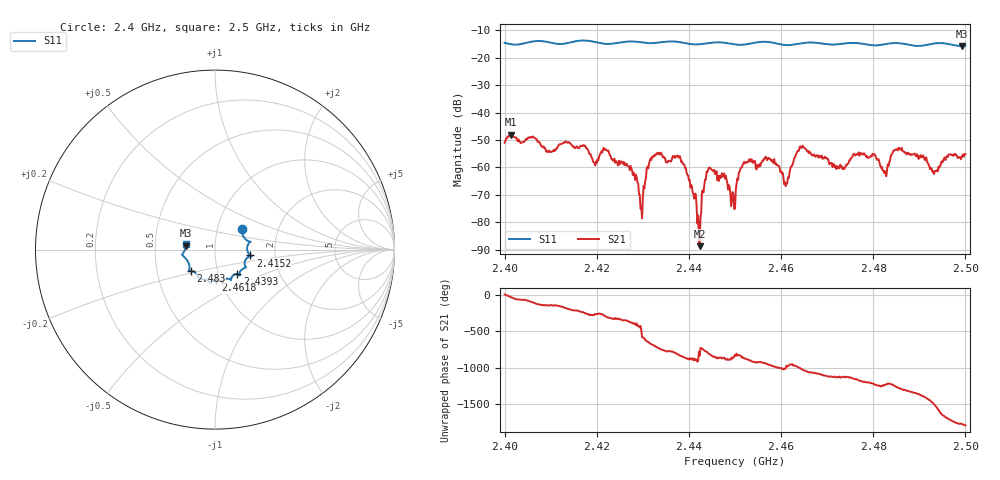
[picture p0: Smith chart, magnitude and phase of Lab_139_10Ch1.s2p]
# Hz S RI R 50
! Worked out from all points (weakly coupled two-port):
!   601 points, 2.4 GHz to 2.5 GHz, reference 50 ohm
!   highest |S21| = -48.01 dB at 2.4013 GHz (marker M1); lowest = -88.7 dB at 2.4423 GHz (marker M2)
!   lowest |S11| = -15.7 dB at 2.4993 GHz (marker M3), VSWR 1.39, Z = 36 + j1.59 ohm
!   |S11| at or under -10 dB: start of sweep to end of sweep
!   S12 and S22 are empty: the file has one direction only
!   S11 on the Smith chart (normalised r, x): 2.4 GHz: 1.31, +0.31; 2.4152 GHz: 1.48, -0.10; 2.4393 GHz: 1.23, -0.35; 2.4618 GHz: 0.95, -0.34; 2.483 GHz: 0.74, -0.18; 2.5 GHz: 0.72, +0.05
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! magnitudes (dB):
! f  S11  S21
! 2.4 GHz  -14.5  -51.0
! 2.4013 GHz  -15.0  -48.0
! 2.4152 GHz  -14.0  -52.7
! 2.4167 GHz  -13.7  -52.1
! 2.427 GHz  -14.0  -59.7
! 2.4297 GHz  -14.3  -74.5
! 2.4313 GHz  -14.6  -58.8
! 2.4333 GHz  -14.4  -55.0
! 2.4393 GHz  -14.7  -60.3
! 2.4423 GHz  -15.0  -88.7
! 2.4443 GHz  -14.6  -60.2
! 2.45 GHz  -15.1  -75.0
! 2.4532 GHz  -14.8  -57.0
! 2.4618 GHz  -15.3  -62.0
! 2.4642 GHz  -14.7  -52.3
! 2.4667 GHz  -14.4  -55.3
! 2.483 GHz  -14.9  -60.8
! 2.4833 GHz  -14.8  -59.4
! 2.4853 GHz  -14.6  -53.8
! 2.4933 GHz  -14.7  -61.6
! 2.4993 GHz  -15.7  -55.6
! 2.5 GHz  -15.6  -55.1
